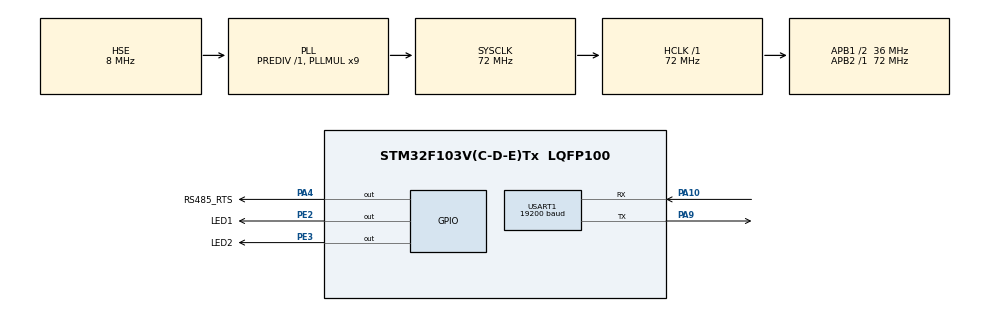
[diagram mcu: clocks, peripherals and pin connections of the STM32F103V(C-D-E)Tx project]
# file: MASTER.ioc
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Mcu.Family=STM32F1
Mcu.Name=STM32F103V(C-D-E)Tx
Mcu.Package=LQFP100
NVIC.PriorityGroup=NVIC_PRIORITYGROUP_4
NVIC.TIM2_IRQn=true\:0\:0\:false\:false\:true\:true\:true
NVIC.USART1_IRQn=true\:0\:0\:false\:false\:true\:true\:true
OSC_IN.Mode=HSE-External-Oscillator
OSC_IN.Signal=RCC_OSC_IN
OSC_OUT.Mode=HSE-External-Oscillator
OSC_OUT.Signal=RCC_OSC_OUT
PA10.Mode=Asynchronous
PA10.Signal=USART1_RX
PA13.Mode=Serial_Wire
PA13.Signal=SYS_JTMS-SWDIO
PA14.Mode=Serial_Wire
PA14.Signal=SYS_JTCK-SWCLK
PA4.GPIO_Label=RS485_RTS
PA4.Signal=GPIO_Output
PA9.Mode=Asynchronous
PA9.Signal=USART1_TX
PE2.GPIO_Label=LED1
PE2.Signal=GPIO_Output
PE3.GPIO_Label=LED2
PE3.Signal=GPIO_Output
ProjectManager.HeapSize=0x200
ProjectManager.StackSize=0x400
ProjectManager.TargetToolchain=STM32CubeIDE
RCC.AHBFreq_Value=72000000
RCC.APB1CLKDivider=RCC_HCLK_DIV2
RCC.APB1Freq_Value=36000000
RCC.APB1TimFreq_Value=72000000
RCC.APB2Freq_Value=72000000
RCC.APB2TimFreq_Value=72000000
RCC.HCLKFreq_Value=72000000
RCC.PLLMUL=RCC_PLL_MUL9
RCC.PLLSourceVirtual=RCC_PLLSOURCE_HSE
RCC.SYSCLKFreq_VALUE=72000000
RCC.SYSCLKSource=RCC_SYSCLKSOURCE_PLLCLK
RCC.USBFreq_Value=72000000
TIM2.Period=49
TIM2.Prescaler=71
USART1.BaudRate=19200
USART1.VirtualMode=VM_ASYNC
VP_TIM2_VS_ClockSourceINT.Mode=Internal
board=custom

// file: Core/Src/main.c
/* USER CODE BEGIN Header */
/**
  ******************************************************************************
  * @file           : main.c
  * @brief          : Main program body
  ******************************************************************************
  * @attention
  *
  * <h2><center>&copy; Copyright (c) 2022 STMicroelectronics.
  * All rights reserved.</center></h2>
  *
  * This software component is licensed by ST under BSD 3-Clause license,
  * the "License"; You may not use this file except in compliance with the
  * License. You may obtain a copy of the License at:
  *                        opensource.org/licenses/BSD-3-Clause
  *
  ******************************************************************************
  */
/* USER CODE END Header */
#include "main.h"

/* USER CODE BEGIN Includes */
#include "include\mb.h"
#include "include\mbport.h"
#include "app\user_mb_app_m.h"
/* USER CODE END Includes */

/* USER CODE BEGIN PTD */
extern uint16_t usMRegHoldBuf[MB_MASTER_TOTAL_SLAVE_NUM][M_REG_HOLDING_NREGS];
extern BOOL xNeedPoll;
/* USER CODE END PTD */

TIM_HandleTypeDef htim2;

UART_HandleTypeDef huart1;

void SystemClock_Config(void);
static void MX_GPIO_Init(void);
static void MX_TIM2_Init(void);
static void MX_USART1_UART_Init(void);

int main(void)
{

  /* MCU Configuration--------------------------------------------------------*/

  /* Reset of all peripherals, Initializes the Flash interface and the Systick. */
  HAL_Init();

  /* Configure the system clock */
  SystemClock_Config();

  /* Initialize all configured peripherals */
  MX_GPIO_Init();
  MX_TIM2_Init();
  MX_USART1_UART_Init();
  /* USER CODE BEGIN 2 */
  eMBMasterInit(MB_RTU , &huart1 , 19200 ,&htim2 );
  eMBMasterEnable();
  xNeedPoll = TRUE ;
  /* USER CODE END 2 */

  /* Infinite loop */
  while (1)
  {

    /* USER CODE BEGIN 3 */
      eMBMasterPoll ();
      HAL_Delay(10);
      if(xNeedPoll)
    	  {
    	  eMBMasterReqReadHoldingRegister(0x0A , 0 , 2 , 2); // 03
    	  xNeedPoll = FALSE ;
    	  }
      if(usMRegHoldBuf [9][0] == 0x01)
          HAL_GPIO_WritePin(GPIOE, GPIO_PIN_2, ENABLE); // LED1 ON
      else
          HAL_GPIO_WritePin(GPIOE, GPIO_PIN_2, DISABLE); // LED1 OFF

      if(usMRegHoldBuf [9][1] == 0x01)
               HAL_GPIO_WritePin(GPIOE, GPIO_PIN_3, ENABLE); // LED2 ON
           else
               HAL_GPIO_WritePin(GPIOE, GPIO_PIN_3, DISABLE); // LED2 OFF

  }
  /* USER CODE END 3 */
}

void SystemClock_Config(void)
{
  RCC_OscInitTypeDef RCC_OscInitStruct = {0};
  RCC_ClkInitTypeDef RCC_ClkInitStruct = {0};

  /** Initializes the RCC Oscillators according to the specified parameters
  * in the RCC_OscInitTypeDef structure.
  */
  RCC_OscInitStruct.OscillatorType = RCC_OSCILLATORTYPE_HSE;
  RCC_OscInitStruct.HSEState = RCC_HSE_ON;
  RCC_OscInitStruct.HSEPredivValue = RCC_HSE_PREDIV_DIV1;
  RCC_OscInitStruct.HSIState = RCC_HSI_ON;
  RCC_OscInitStruct.PLL.PLLState = RCC_PLL_ON;
  RCC_OscInitStruct.PLL.PLLSource = RCC_PLLSOURCE_HSE;
  RCC_OscInitStruct.PLL.PLLMUL = RCC_PLL_MUL9;
  if (HAL_RCC_OscConfig(&RCC_OscInitStruct) != HAL_OK)
  {
    Error_Handler();
  }
  /** Initializes the CPU, AHB and APB buses clocks
  */
  RCC_ClkInitStruct.ClockType = RCC_CLOCKTYPE_HCLK|RCC_CLOCKTYPE_SYSCLK
                              |RCC_CLOCKTYPE_PCLK1|RCC_CLOCKTYPE_PCLK2;
  RCC_ClkInitStruct.SYSCLKSource = RCC_SYSCLKSOURCE_PLLCLK;
  RCC_ClkInitStruct.AHBCLKDivider = RCC_SYSCLK_DIV1;
  RCC_ClkInitStruct.APB1CLKDivider = RCC_HCLK_DIV2;
  RCC_ClkInitStruct.APB2CLKDivider = RCC_HCLK_DIV1;

  if (HAL_RCC_ClockConfig(&RCC_ClkInitStruct, FLASH_LATENCY_2) != HAL_OK)
  {
    Error_Handler();
  }
}

static void MX_TIM2_Init(void)
{

  TIM_ClockConfigTypeDef sClockSourceConfig = {0};
  TIM_MasterConfigTypeDef sMasterConfig = {0};

  htim2.Instance = TIM2;
  htim2.Init.Prescaler = 71;
  htim2.Init.CounterMode = TIM_COUNTERMODE_UP;
  htim2.Init.Period = 49;
  htim2.Init.ClockDivision = TIM_CLOCKDIVISION_DIV1;
  htim2.Init.AutoReloadPreload = TIM_AUTORELOAD_PRELOAD_DISABLE;
  if (HAL_TIM_Base_Init(&htim2) != HAL_OK)
  {
    Error_Handler();
  }
  sClockSourceConfig.ClockSource = TIM_CLOCKSOURCE_INTERNAL;
  if (HAL_TIM_ConfigClockSource(&htim2, &sClockSourceConfig) != HAL_OK)
  {
    Error_Handler();
  }
  sMasterConfig.MasterOutputTrigger = TIM_TRGO_RESET;
  sMasterConfig.MasterSlaveMode = TIM_MASTERSLAVEMODE_DISABLE;
  if (HAL_TIMEx_MasterConfigSynchronization(&htim2, &sMasterConfig) != HAL_OK)
  {
    Error_Handler();
  }

}

static void MX_USART1_UART_Init(void)
{

  huart1.Instance = USART1;
  huart1.Init.BaudRate = 19200;
  huart1.Init.WordLength = UART_WORDLENGTH_8B;
  huart1.Init.StopBits = UART_STOPBITS_1;
  huart1.Init.Parity = UART_PARITY_NONE;
  huart1.Init.Mode = UART_MODE_TX_RX;
  huart1.Init.HwFlowCtl = UART_HWCONTROL_NONE;
  huart1.Init.OverSampling = UART_OVERSAMPLING_16;
  if (HAL_UART_Init(&huart1) != HAL_OK)
  {
    Error_Handler();
  }

}

static void MX_GPIO_Init(void)
{
  GPIO_InitTypeDef GPIO_InitStruct = {0};

  /* GPIO Ports Clock Enable */
  __HAL_RCC_GPIOE_CLK_ENABLE();
  __HAL_RCC_GPIOA_CLK_ENABLE();

  /*Configure GPIO pin Output Level */
  HAL_GPIO_WritePin(GPIOE, LED1_Pin|LED2_Pin, GPIO_PIN_RESET);

  /*Configure GPIO pin Output Level */
  HAL_GPIO_WritePin(RS485_RTS_GPIO_Port, RS485_RTS_Pin, GPIO_PIN_RESET);

  /*Configure GPIO pins : LED1_Pin LED2_Pin */
  GPIO_InitStruct.Pin = LED1_Pin|LED2_Pin;
  GPIO_InitStruct.Mode = GPIO_MODE_OUTPUT_PP;
  GPIO_InitStruct.Pull = GPIO_NOPULL;
  GPIO_InitStruct.Speed = GPIO_SPEED_FREQ_LOW;
  HAL_GPIO_Init(GPIOE, &GPIO_InitStruct);

  /*Configure GPIO pin : RS485_RTS_Pin */
  GPIO_InitStruct.Pin = RS485_RTS_Pin;
  GPIO_InitStruct.Mode = GPIO_MODE_OUTPUT_PP;
  GPIO_InitStruct.Pull = GPIO_NOPULL;
  GPIO_InitStruct.Speed = GPIO_SPEED_FREQ_LOW;
  HAL_GPIO_Init(RS485_RTS_GPIO_Port, &GPIO_InitStruct);

}

void Error_Handler(void)
{
  __disable_irq();
  while (1)
  {
  }
}

/************************ (C) COPYRIGHT STMicroelectronics *****END OF FILE****/
